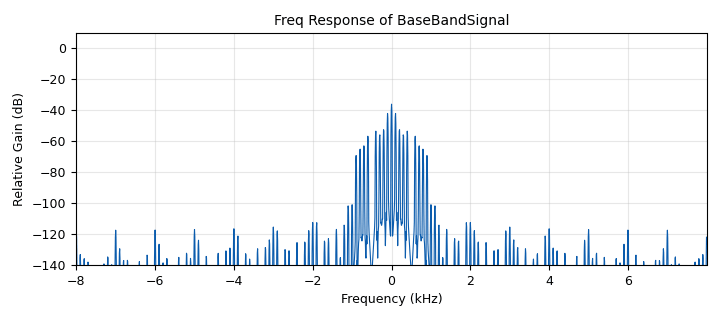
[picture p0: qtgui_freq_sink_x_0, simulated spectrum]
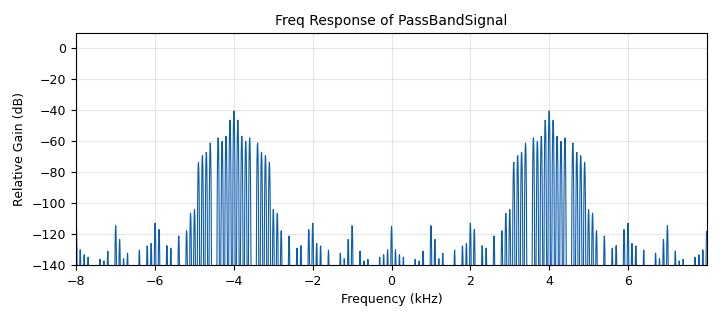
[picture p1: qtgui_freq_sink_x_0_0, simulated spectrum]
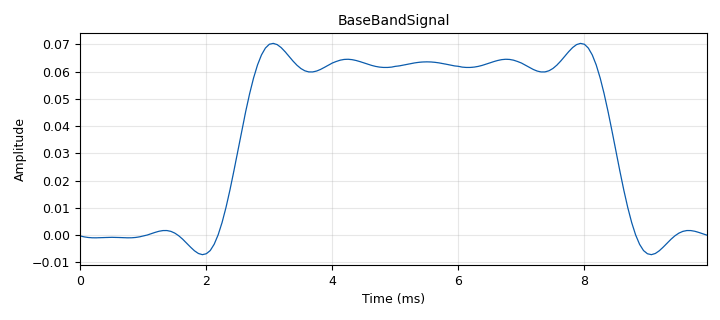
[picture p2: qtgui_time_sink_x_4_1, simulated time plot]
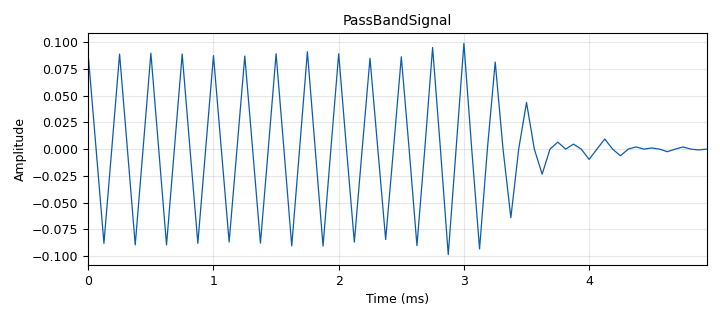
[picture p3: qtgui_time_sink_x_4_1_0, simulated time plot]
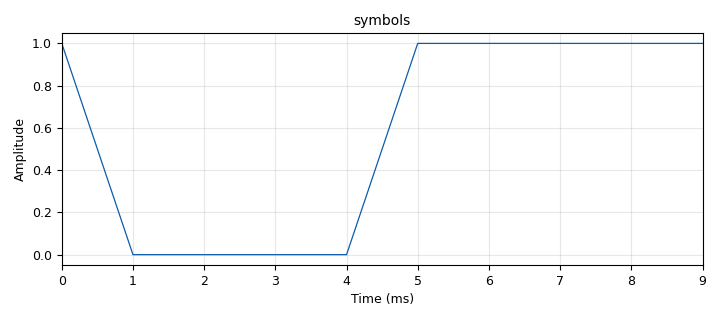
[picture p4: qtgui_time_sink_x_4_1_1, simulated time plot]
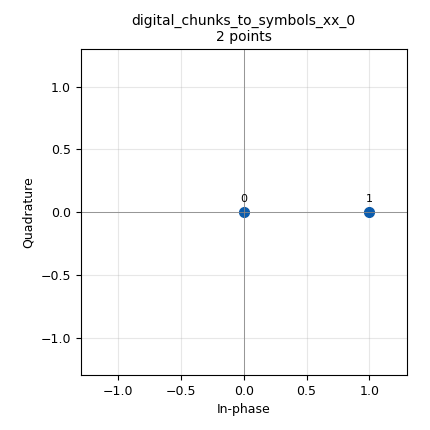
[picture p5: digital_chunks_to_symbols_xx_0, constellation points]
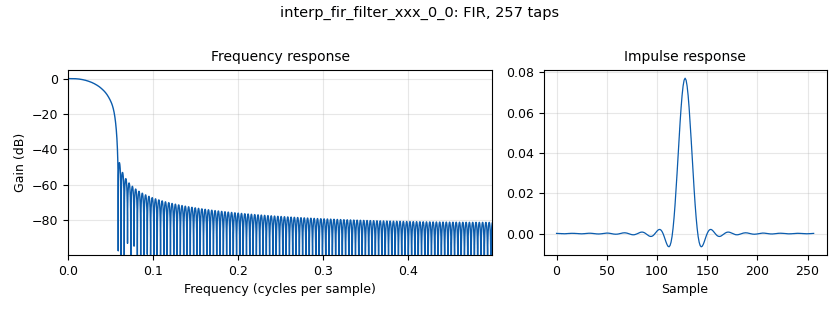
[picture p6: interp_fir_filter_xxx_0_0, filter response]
options:
  parameters:
    generate_options: qt_gui
    id: ASK_grFlowgraph
    output_language: python
    title: Not titled yet
  states: {}

blocks:
- name: delay
  id: variable
  parameters:
    value: '60'
  states: {}
- name: delay1
  id: variable_qtgui_range
  parameters:
    start: '2'
    step: '1'
    stop: '60'
    value: '5'
    widget: slider
  states: {}
- name: exess_bw
  id: variable
  parameters:
    value: '0.85'
  states: {}
- name: fc
  id: variable
  parameters:
    value: samp_rate/4
  states: {}
- name: interpolation_factor
  id: variable
  parameters:
    value: 8*2
  states: {}
- name: ntaps
  id: variable
  parameters:
    value: '256'
  states: {}
- name: num_samples_to_display
  id: variable
  parameters:
    value: 'num_symbols_to_display  *  interpolation_factor '
  states: {}
- name: num_symbols_to_display
  id: variable
  parameters:
    value: symbol_rate * plot_time_ms_as_fraction
  states: {}
- name: plot_time_ms
  id: variable
  parameters:
    value: '10'
  states: {}
- name: plot_time_ms_as_fraction
  id: variable
  parameters:
    value: plot_time_ms/1000
  states: {}
- name: rrc_taps
  id: variable
  parameters:
    value: numpy.array ( firdes.root_raised_cosine(1,samp_rate,symbol_rate, exess_bw,ntaps ))
  states: {}
- name: samp_rate
  id: variable
  parameters:
    value: symbol_rate * interpolation_factor
  states: {}
- name: symbol_rate
  id: variable
  parameters:
    value: '1000'
  states: {}
- name: analog_sig_source_x_0
  id: analog_sig_source_x
  parameters:
    amp: '1.414'
    freq: fc
    offset: '0'
    phase: '0'
    samp_rate: samp_rate
    type: float
    waveform: analog.GR_COS_WAVE
  states: {}
- name: analog_sig_source_x_0_0
  id: analog_sig_source_x
  parameters:
    amp: '1.414'
    freq: fc
    offset: '0'
    phase: '0'
    samp_rate: samp_rate
    type: float
    waveform: analog.GR_COS_WAVE
  states: {state: disabled}
- name: blocks_multiply_xx_0
  id: blocks_multiply_xx
  parameters:
    type: float
  states: {}
- name: blocks_multiply_xx_0_0
  id: blocks_multiply_xx
  parameters:
    type: float
  states: {state: disabled}
- name: blocks_throttle2_0
  id: blocks_throttle2
  parameters:
    maximum: '2'
    samples_per_second: symbol_rate
    type: float
  states: {}
- name: blocks_vector_source_x_0
  id: blocks_vector_source_x
  parameters:
    repeat: 'True'
    type: byte
    vector: '(1, 0, 0,0,0,1,1,1,1,1)  '
  states: {}
- name: digital_chunks_to_symbols_xx_0
  id: digital_chunks_to_symbols_xx
  parameters:
    dimension: '1'
    in_type: byte
    out_type: float
    symbol_table: '[0,1]'
  states: {}
- name: epy_block_0
  id: epy_block
  parameters:
    _source_code: |
      """
      Embedded Python Blocks:

      Each time this file is saved, GRC will instantiate the first class it finds
      to get ports and parameters of your block. The arguments to __init__  will
      be the parameters. All of them are required to have default values!
      """

      import numpy as np
      from gnuradio import gr


      class blk(gr.sync_block):  # other base classes are basic_block, decim_block, interp_block
          """Embedded Python Block example - a simple multiply const"""

          def __init__(self, example_param=1.0):  # only default arguments here
              """arguments to this function show up as parameters in GRC"""
              gr.sync_block.__init__(
                  self,
                  name='Embedded Python Block',   # will show up in GRC
                  in_sig=[np.float64],
                  out_sig=[np.float64]
              )
              # if an attribute with the same name as a parameter is found,
              # a callback is registered (properties work, too).
              self.example_param = example_param

          def work(self, input_items, output_items):
              """example: multiply with constant"""
              output_items[0][:] = input_items[0] * self.example_param
              return len(output_items[0])
    example_param: '1.0'
  states: {state: disabled}
- name: epy_block_0_0
  id: epy_block
  parameters:
    _source_code: |
      """
      Embedded Python Blocks:

      Each time this file is saved, GRC will instantiate the first class it finds
      to get ports and parameters of your block. The arguments to __init__  will
      be the parameters. All of them are required to have default values!
      """


      import numpy as np
      from gnuradio import gr

      class byte_display_block(gr.sync_block):
          def __init__(self):
              gr.sync_block.__init__(self,
                  name="Byte Display Block",
                  in_sig=[np.uint8],
                  out_sig=None)

          def work(self, input_items, output_items):
              for byte in input_items[0]:
                  print(f"Byte: {byte:08b}")  # Display as 8-bit binary
              return len(input_items[0])
  states: {state: disabled}
- name: fir_filter_xxx_0
  id: fir_filter_xxx
  parameters:
    decim: samp_rate // symbol_rate
    taps: rrc_taps
    type: fff
  states: {state: disabled}
- name: import_0
  id: import
  parameters:
    imports: import numpy
  states: {}
- name: interp_fir_filter_xxx_0_0
  id: interp_fir_filter_xxx
  parameters:
    interp: samp_rate // symbol_rate
    taps: rrc_taps
    type: fff
  states: {}
- name: qtgui_freq_sink_x_0
  id: qtgui_freq_sink_x
  parameters:
    bw: samp_rate
    fc: '0'
    fftsize: 1024*2
    name: '"Freq Response of BaseBandSignal"'
    type: float
    update_time: '256'
    wintype: window.WIN_BLACKMAN
  states: {}
- name: qtgui_freq_sink_x_0_0
  id: qtgui_freq_sink_x
  parameters:
    bw: 4*fc
    fc: '0'
    fftsize: 1024*2
    name: '"Freq Response of PassBandSignal"'
    type: float
    update_time: '500'
  states: {}
- name: qtgui_freq_sink_x_0_0_0
  id: qtgui_freq_sink_x
  parameters:
    bw: 4*fc
    fc: '0'
    fftsize: 1024*2
    name: '"Freq Response of Demodulated baseBand Signal"'
    type: float
    update_time: '500'
  states: {state: disabled}
- name: qtgui_time_sink_x_4_1
  id: qtgui_time_sink_x
  parameters:
    autoscale: 'True'
    grid: 'True'
    name: '"BaseBandSignal"'
    size: int(num_samples_to_display)
    srate: samp_rate
    type: float
    update_time: plot_time_ms
  states: {}
- name: qtgui_time_sink_x_4_1_0
  id: qtgui_time_sink_x
  parameters:
    autoscale: 'True'
    grid: 'True'
    name: '"PassBandSignal"'
    size: '80'
    srate: samp_rate
    type: float
    update_time: '10'
  states: {}
- name: qtgui_time_sink_x_4_1_0_0
  id: qtgui_time_sink_x
  parameters:
    autoscale: 'True'
    grid: 'True'
    name: '"demodulated Baseband Signal"'
    size: '80'
    srate: samp_rate
    type: float
    update_time: '10'
  states: {state: disabled}
- name: qtgui_time_sink_x_4_1_1
  id: qtgui_time_sink_x
  parameters:
    autoscale: 'True'
    grid: 'True'
    name: '"symbols"'
    size: '10'
    srate: symbol_rate
    type: float
    update_time: '10'
  states: {}
- name: qtgui_time_sink_x_4_1_2
  id: qtgui_time_sink_x
  parameters:
    autoscale: 'True'
    grid: 'True'
    name: '"Recovered BaseBandSignal"'
    size: int(num_samples_to_display)
    srate: samp_rate
    type: float
    update_time: plot_time_ms
  states: {state: disabled}
- name: root_raised_cosine_filter_0
  id: root_raised_cosine_filter
  parameters:
    alpha: '0.85'
    gain: '1'
    interp: samp_rate // symbol_rate
    ntaps: (6*8)+1
    samp_rate: samp_rate
    sym_rate: '1000'
    type: interp_fir_filter_fff
  states: {state: disabled}
- name: virtual_sink_1
  id: virtual_sink
  parameters:
    stream_id: BaseBand_Signal
  states: {}
- name: virtual_sink_1_0
  id: virtual_sink
  parameters:
    stream_id: Passband_ASKsignal
  states: {}
- name: virtual_source_1_0
  id: virtual_source
  parameters:
    stream_id: BaseBand_Signal
  states: {}
- name: virtual_source_1_0_0
  id: virtual_source
  parameters:
    stream_id: Passband_ASKsignal
  states: {state: disabled}

connections:
- [analog_sig_source_x_0, '0', blocks_multiply_xx_0, '1']
- [analog_sig_source_x_0_0, '0', blocks_multiply_xx_0_0, '1']
- [blocks_multiply_xx_0, '0', qtgui_freq_sink_x_0_0, '0']
- [blocks_multiply_xx_0, '0', qtgui_time_sink_x_4_1_0, '0']
- [blocks_multiply_xx_0, '0', virtual_sink_1_0, '0']
- [blocks_multiply_xx_0_0, '0', fir_filter_xxx_0, '0']
- [blocks_multiply_xx_0_0, '0', qtgui_freq_sink_x_0_0_0, '0']
- [blocks_multiply_xx_0_0, '0', qtgui_time_sink_x_4_1_0_0, '0']
- [blocks_throttle2_0, '0', interp_fir_filter_xxx_0_0, '0']
- [blocks_throttle2_0, '0', qtgui_time_sink_x_4_1_1, '0']
- [blocks_throttle2_0, '0', root_raised_cosine_filter_0, '0']
- [blocks_vector_source_x_0, '0', digital_chunks_to_symbols_xx_0, '0']
- [blocks_vector_source_x_0, '0', epy_block_0, '0']
- [blocks_vector_source_x_0, '0', epy_block_0_0, '0']
- [digital_chunks_to_symbols_xx_0, '0', blocks_throttle2_0, '0']
- [fir_filter_xxx_0, '0', qtgui_time_sink_x_4_1_2, '0']
- [interp_fir_filter_xxx_0_0, '0', qtgui_freq_sink_x_0, '0']
- [interp_fir_filter_xxx_0_0, '0', qtgui_time_sink_x_4_1, '0']
- [interp_fir_filter_xxx_0_0, '0', virtual_sink_1, '0']
- [root_raised_cosine_filter_0, '0', qtgui_freq_sink_x_0, '0']
- [virtual_source_1_0, '0', blocks_multiply_xx_0, '0']
- [virtual_source_1_0_0, '0', blocks_multiply_xx_0_0, '0']

metadata:
  file_format: 1
  grc_version: 3.10.10.0
